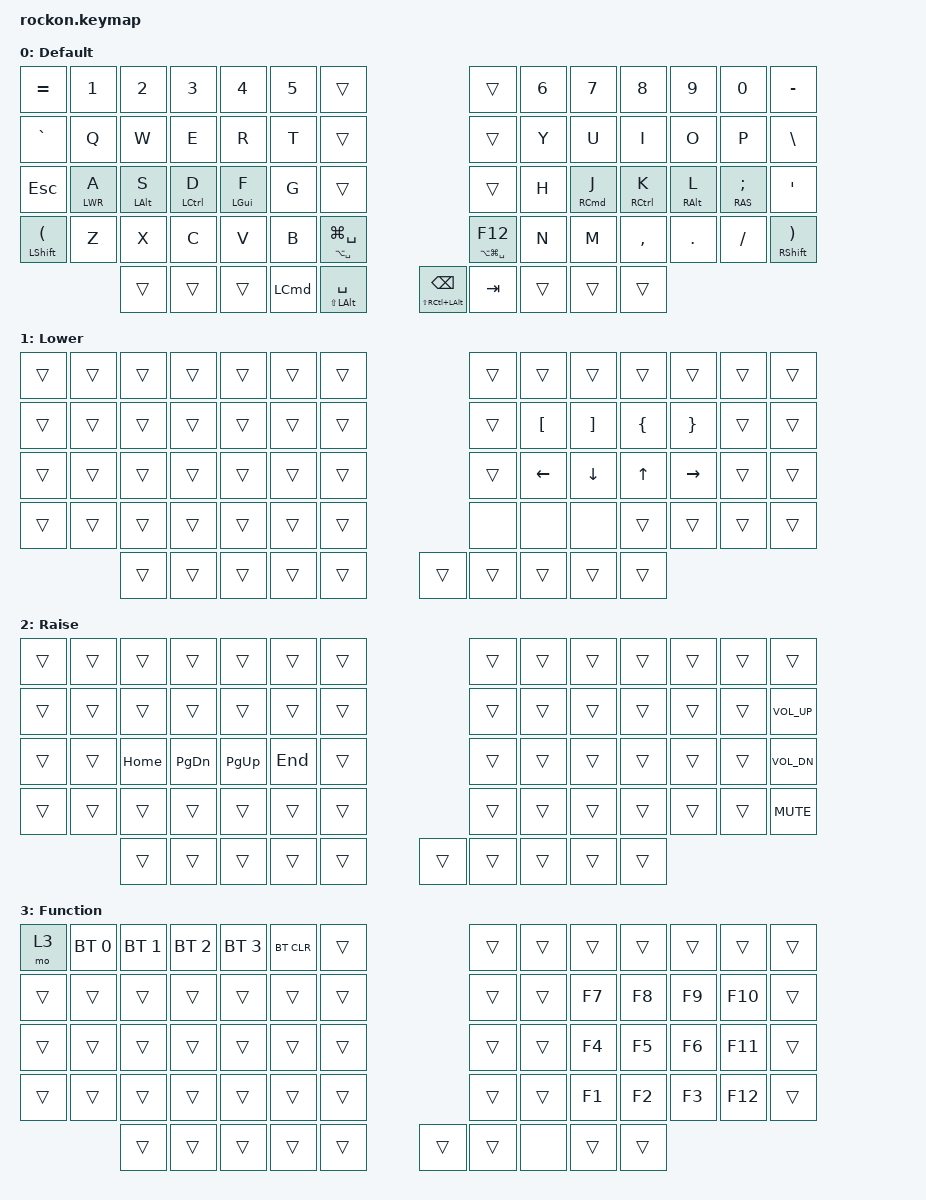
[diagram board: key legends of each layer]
#include <behaviors.dtsi>
#include <dt-bindings/zmk/bt.h>
#include <dt-bindings/zmk/keys.h>

#define DEFAULT 0
#define LWR     1
#define RAS     2
#define FUNC    3

&caps_word { continue-list = <UNDERSCORE MINUS>; };

/ {
    combos {
    };
};

/ {
    macros {
        hem: hem {
            label = "hem";
            compatible = "zmk,behavior-macro";
            #binding-cells = <0>;
            bindings =
                <&macro_tap>,
                <&kp BSPC>,
                <&macro_wait_time 100>,
                <&macro_press>,
                <&kp LSHFT &kp LCTRL &kp LALT>;
        };
    };
};

/ {
    combos {
        compatible = "zmk,combos";

        Enter {
            timeout-ms = <50>;
            key-positions = <60 61>;
            bindings = <&kp ENTER>;
        };

        GUI_space {
            bindings = <&kp LG(SPACE)>;
            key-positions = <32 31>;
        };

        ALT_Space {
            bindings = <&kp LA(SPACE)>;
            key-positions = <30 32>;
        };

        GUI_CTRL_ALT_Space {
            bindings = <&kp LA(LC(SPACE))>;
            key-positions = <37 38>;
        };

        GUI_CTRL_ALT_SHIFT_Space {
            bindings = <&kp LA(LC(LS(LG(SPACE))))>;
            key-positions = <39 37>;
        };
    };
};

/ {
    conditional_layers {
        compatible = "zmk,conditional-layers";

        tri_layer {
            if-layers = <1 2>;
            then-layer = <3>;
        };
    };
};

/ {
    behaviors {
        hm: homerow_mods {
            compatible = "zmk,behavior-hold-tap";
            label = "HOMEROW_MODS";
            #binding-cells = <2>;
            tapping-term-ms = <200>;
            quick_tap_ms = <0>;
            flavor = "tap-preferred";
            bindings = <&kp>, <&kp>;
        };

        hs: homerow_shift {
            compatible = "zmk,behavior-hold-tap";
            label = "HOMEROW_SHIFT";
            #binding-cells = <2>;
            tapping-term-ms = <250>;
            quick_tap_ms = <0>;
            flavor = "tap-preferred";
            bindings = <&kp>, <&kp>;
        };

        am: amethyst_modifyers {
            compatible = "zmk,behavior-hold-tap";
            label = "AMETHYST_MODIFYER";
            #binding-cells = <2>;
            tapping-term-ms = <250>;
            quick_tap_ms = <0>;
            flavor = "tap-preferred";
            bindings = <&kp>, <&kp>;
        };
    };

    keymap {
        compatible = "zmk,keymap";

        default_layer {
            label = "Default";
            bindings = <
&kp EQUAL        &kp N1     &kp N2      &kp N3      &kp N4      &kp N5    &trans                                                   &trans                 &kp N6  &kp N7      &kp N8       &kp N9      &kp N0        &kp MINUS
&kp GRAVE        &kp Q      &kp W       &kp E       &kp R       &kp T     &trans                                                   &trans                 &kp Y   &kp U       &kp I        &kp O       &kp P         &kp BSLH
&kp ESC          &lt LWR A  &hm LALT S  &hm LCTL D  &hm LGUI F  &kp G     &trans                                                   &trans                 &kp H   &hm RCMD J  &hm RCTRL K  &hm RALT L  &lt RAS SEMI  &kp SQT
&mt LSHIFT LPAR  &kp Z      &kp X       &kp C       &kp V       &kp B     &mt LA(SPACE) LG(SPACE)                                  &mt LA(LG(SPACE)) F12  &kp N   &kp M       &kp COMMA    &kp DOT     &kp FSLH      &mt RSHIFT RPAR
                            &trans      &trans      &trans      &kp LCMD  &am LS(LALT) SPACE       &am LS(RC(LALT)) BSPC  &kp TAB  &trans                 &trans  &trans
            >;
        };

        nav_layer {
            label = "Lower";
            bindings = <
&trans  &trans  &trans  &trans  &trans  &trans  &trans                  &trans  &trans            &trans             &trans          &trans           &trans  &trans
&trans  &trans  &trans  &trans  &trans  &trans  &trans                  &trans  &kp LEFT_BRACKET  &kp RIGHT_BRACKET  &kp LEFT_BRACE  &kp RIGHT_BRACE  &trans  &trans
&trans  &trans  &trans  &trans  &trans  &trans  &trans                  &trans  &kp LEFT          &kp DOWN           &kp UP          &kp RIGHT        &trans  &trans
&trans  &trans  &trans  &trans  &trans  &trans  &trans                  &none   &none             &none              &trans          &trans           &trans  &trans
                &trans  &trans  &trans  &trans  &trans  &trans  &trans  &trans  &trans            &trans
            >;
        };

        sym_layer {
            label = "Raise";
            bindings = <
&trans  &trans  &trans    &trans         &trans       &trans   &trans                  &trans  &trans  &trans  &trans  &trans  &trans  &trans
&trans  &trans  &trans    &trans         &trans       &trans   &trans                  &trans  &trans  &trans  &trans  &trans  &trans  &kp C_VOL_UP
&trans  &trans  &kp HOME  &kp PAGE_DOWN  &kp PAGE_UP  &kp END  &trans                  &trans  &trans  &trans  &trans  &trans  &trans  &kp C_VOL_DN
&trans  &trans  &trans    &trans         &trans       &trans   &trans                  &trans  &trans  &trans  &trans  &trans  &trans  &kp C_MUTE
                &trans    &trans         &trans       &trans   &trans  &trans  &trans  &trans  &trans  &trans
            >;
        };

        func_layer {
            label = "Function";
            bindings = <
&mo 3   &bt BT_SEL 0  &bt BT_SEL 1  &bt BT_SEL 2  &bt BT_SEL 3  &bt BT_CLR  &trans                  &trans  &trans  &trans  &trans  &trans  &trans   &trans
&trans  &trans        &trans        &trans        &trans        &trans      &trans                  &trans  &trans  &kp F7  &kp F8  &kp F9  &kp F10  &trans
&trans  &trans        &trans        &trans        &trans        &trans      &trans                  &trans  &trans  &kp F4  &kp F5  &kp F6  &kp F11  &trans
&trans  &trans        &trans        &trans        &trans        &trans      &trans                  &trans  &trans  &kp F1  &kp F2  &kp F3  &kp F12  &trans
                      &trans        &trans        &trans        &trans      &trans  &trans  &trans  &none   &trans  &trans
            >;
        };
    };
};
